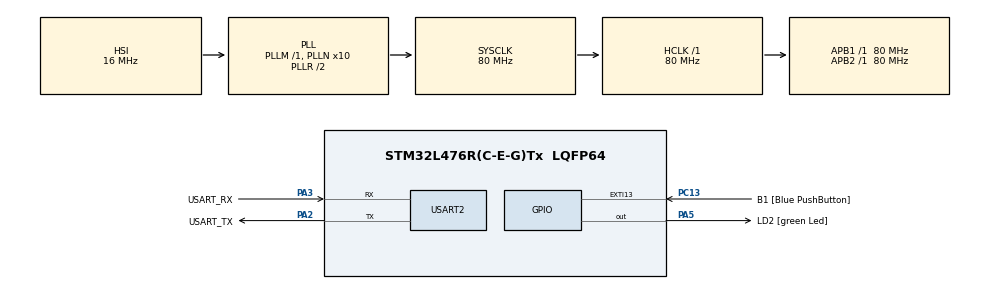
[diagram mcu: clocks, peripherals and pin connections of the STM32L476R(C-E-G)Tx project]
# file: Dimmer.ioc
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Mcu.Family=STM32L4
Mcu.Name=STM32L476R(C-E-G)Tx
Mcu.Package=LQFP64
NVIC.EXTI15_10_IRQn=true\:0\:0\:false\:false\:true\:true\:true
NVIC.PriorityGroup=NVIC_PRIORITYGROUP_4
PA13\ (JTMS-SWDIO).GPIO_Label=TMS
PA13\ (JTMS-SWDIO).Mode=Serial_Wire
PA13\ (JTMS-SWDIO).Signal=SYS_JTMS-SWDIO
PA14\ (JTCK-SWCLK).GPIO_Label=TCK
PA14\ (JTCK-SWCLK).Mode=Serial_Wire
PA14\ (JTCK-SWCLK).Signal=SYS_JTCK-SWCLK
PA2.GPIO_Label=USART_TX
PA2.GPIO_Mode=GPIO_MODE_AF_PP
PA2.GPIO_PuPd=GPIO_NOPULL
PA2.GPIO_Speed=GPIO_SPEED_FREQ_VERY_HIGH
PA2.Mode=Asynchronous
PA2.Signal=USART2_TX
PA3.GPIO_Label=USART_RX
PA3.GPIO_Mode=GPIO_MODE_AF_PP
PA3.GPIO_PuPd=GPIO_NOPULL
PA3.GPIO_Speed=GPIO_SPEED_FREQ_VERY_HIGH
PA3.Mode=Asynchronous
PA3.Signal=USART2_RX
PA5.GPIO_Label=LD2 [green Led]
PA5.GPIO_ModeDefaultOutputPP=GPIO_MODE_OUTPUT_PP
PA5.GPIO_PuPd=GPIO_NOPULL
PA5.GPIO_Speed=GPIO_SPEED_FREQ_LOW
PA5.Signal=GPIO_Output
PB3\ (JTDO-TRACESWO).GPIO_Label=SWO
PB3\ (JTDO-TRACESWO).Signal=SYS_JTDO-SWO
PC13.GPIO_Label=B1 [Blue PushButton]
PC13.GPIO_ModeDefaultEXTI=GPIO_MODE_IT_FALLING
PC13.GPIO_PuPd=GPIO_NOPULL
PC13.Signal=GPXTI13
PC14-OSC32_IN\ (PC14).Mode=LSE-External-Oscillator
PC14-OSC32_IN\ (PC14).Signal=RCC_OSC32_IN
PC15-OSC32_OUT\ (PC15).Mode=LSE-External-Oscillator
PC15-OSC32_OUT\ (PC15).Signal=RCC_OSC32_OUT
PH0-OSC_IN\ (PH0).Signal=RCC_OSC_IN
PH1-OSC_OUT\ (PH1).Signal=RCC_OSC_OUT
ProjectManager.HeapSize=0x200
ProjectManager.StackSize=0x400
ProjectManager.TargetToolchain=STM32CubeIDE
RCC.ADCFreq_Value=64000000
RCC.AHBFreq_Value=80000000
RCC.APB1Freq_Value=80000000
RCC.APB1TimFreq_Value=80000000
RCC.APB2Freq_Value=80000000
RCC.APB2TimFreq_Value=80000000
RCC.CortexFreq_Value=80000000
RCC.HCLKFreq_Value=80000000
RCC.HSE_VALUE=8000000
RCC.HSI_VALUE=16000000
RCC.MSI_VALUE=4000000
RCC.PLLN=10
RCC.PLLSourceVirtual=RCC_PLLSOURCE_HSI
RCC.PREFETCH_ENABLE=1
RCC.SYSCLKFreq_VALUE=80000000
RCC.SYSCLKSource=RCC_SYSCLKSOURCE_PLLCLK
RCC.USBFreq_Value=64000000
RCC.VCOOutputFreq_Value=160000000
USART2.VirtualMode-Asynchronous=VM_ASYNC
board=NUCLEO-L476RG

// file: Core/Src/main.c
/* USER CODE BEGIN Header */
/**
  ******************************************************************************
  * @file           : main.c
  * @brief          : Main program body
  ******************************************************************************
  * @attention
  *
  * <h2><center>&copy; Copyright (c) 2020 STMicroelectronics.
  * All rights reserved.</center></h2>
  *
  * This software component is licensed by ST under BSD 3-Clause license,
  * the "License"; You may not use this file except in compliance with the
  * License. You may obtain a copy of the License at:
  *                        opensource.org/licenses/BSD-3-Clause
  *
  ******************************************************************************
  */
/* USER CODE END Header */

#include "main.h"

UART_HandleTypeDef huart2;

void SystemClock_Config(void);
static void MX_GPIO_Init(void);
static void MX_USART2_UART_Init(void);

int main(void)
{

  /* MCU Configuration--------------------------------------------------------*/

  /* Reset of all peripherals, Initializes the Flash interface and the Systick. */
  HAL_Init();

  /* USER CODE BEGIN Init */
  estado_led=Apagado;
  tempo=0;
  tiemp=0;
  tick_time=0;
  Revisaboton=0;
  Tsw=4000;
  Toff=10000;
  flag=0;
  /* USER CODE END Init */

  /* Configure the system clock */
  SystemClock_Config();

  /* Initialize all configured peripherals */
  MX_GPIO_Init();
  MX_USART2_UART_Init();

  /* Infinite loop */
  /* USER CODE BEGIN WHILE */
  while (1)
	  {

	  // Dimmer(tick_time,Tsw,Toff,flag);
	  switch(estado_led)
	  {
	  case (Apagado):
			  if (flag==1){
				  if(tick_time>=tiemp+Toff)
				  {
					  estado_led=Encendido;
					  tiemp=tick_time;
					}
					else
					{
						estado_led=Atenuado;
						tiemp=tick_time;
					}
					flag=0;
				}
				else{
				HAL_GPIO_WritePin(LD2_GPIO_Port, LD2_Pin, GPIO_PIN_RESET);
				}
		break;
		case (Atenuado):
			if (flag==1){
				if(tick_time>=tiemp+Tsw)
				{
					estado_led=Apagado;
					tiemp=tick_time;
				}
				else
				{
					estado_led=Encendido;
					tiemp=tick_time;
				}
				flag=0;
			}
			else{
				if (tick_time>=(33+tempo)){
					HAL_GPIO_TogglePin(LD2_GPIO_Port, LD2_Pin);
					tempo=tick_time;
				}
			}
		break;
		case (Encendido):
				if (flag==1)
				{
					if(tick_time>=tiemp+Tsw)
					{
						estado_led=Atenuado;
						tiemp=tick_time;
					}
					else
						{
						estado_led=Apagado;
						tiemp=tick_time;
						}
					flag=0;
				}
				else
				{
					HAL_GPIO_WritePin(LD2_GPIO_Port, LD2_Pin, GPIO_PIN_SET);
				}
		break;
		}

	  /* USER CODE END WHILE */
	  }
}
void SystemClock_Config(void)
{
  RCC_OscInitTypeDef RCC_OscInitStruct = {0};
  RCC_ClkInitTypeDef RCC_ClkInitStruct = {0};
  RCC_PeriphCLKInitTypeDef PeriphClkInit = {0};

  /** Initializes the CPU, AHB and APB busses clocks
  */
  RCC_OscInitStruct.OscillatorType = RCC_OSCILLATORTYPE_HSI;
  RCC_OscInitStruct.HSIState = RCC_HSI_ON;
  RCC_OscInitStruct.HSICalibrationValue = RCC_HSICALIBRATION_DEFAULT;
  RCC_OscInitStruct.PLL.PLLState = RCC_PLL_ON;
  RCC_OscInitStruct.PLL.PLLSource = RCC_PLLSOURCE_HSI;
  RCC_OscInitStruct.PLL.PLLM = 1;
  RCC_OscInitStruct.PLL.PLLN = 10;
  RCC_OscInitStruct.PLL.PLLP = RCC_PLLP_DIV7;
  RCC_OscInitStruct.PLL.PLLQ = RCC_PLLQ_DIV2;
  RCC_OscInitStruct.PLL.PLLR = RCC_PLLR_DIV2;
  if (HAL_RCC_OscConfig(&RCC_OscInitStruct) != HAL_OK)
  {
    Error_Handler();
  }
  /** Initializes the CPU, AHB and APB busses clocks
  */
  RCC_ClkInitStruct.ClockType = RCC_CLOCKTYPE_HCLK|RCC_CLOCKTYPE_SYSCLK
                              |RCC_CLOCKTYPE_PCLK1|RCC_CLOCKTYPE_PCLK2;
  RCC_ClkInitStruct.SYSCLKSource = RCC_SYSCLKSOURCE_PLLCLK;
  RCC_ClkInitStruct.AHBCLKDivider = RCC_SYSCLK_DIV1;
  RCC_ClkInitStruct.APB1CLKDivider = RCC_HCLK_DIV1;
  RCC_ClkInitStruct.APB2CLKDivider = RCC_HCLK_DIV1;

  if (HAL_RCC_ClockConfig(&RCC_ClkInitStruct, FLASH_LATENCY_4) != HAL_OK)
  {
    Error_Handler();
  }
  PeriphClkInit.PeriphClockSelection = RCC_PERIPHCLK_USART2;
  PeriphClkInit.Usart2ClockSelection = RCC_USART2CLKSOURCE_PCLK1;
  if (HAL_RCCEx_PeriphCLKConfig(&PeriphClkInit) != HAL_OK)
  {
    Error_Handler();
  }
  /** Configure the main internal regulator output voltage
  */
  if (HAL_PWREx_ControlVoltageScaling(PWR_REGULATOR_VOLTAGE_SCALE1) != HAL_OK)
  {
    Error_Handler();
  }
}

static void MX_USART2_UART_Init(void)
{

  huart2.Instance = USART2;
  huart2.Init.BaudRate = 115200;
  huart2.Init.WordLength = UART_WORDLENGTH_8B;
  huart2.Init.StopBits = UART_STOPBITS_1;
  huart2.Init.Parity = UART_PARITY_NONE;
  huart2.Init.Mode = UART_MODE_TX_RX;
  huart2.Init.HwFlowCtl = UART_HWCONTROL_NONE;
  huart2.Init.OverSampling = UART_OVERSAMPLING_16;
  huart2.Init.OneBitSampling = UART_ONE_BIT_SAMPLE_DISABLE;
  huart2.AdvancedInit.AdvFeatureInit = UART_ADVFEATURE_NO_INIT;
  if (HAL_UART_Init(&huart2) != HAL_OK)
  {
    Error_Handler();
  }

}

static void MX_GPIO_Init(void)
{
  GPIO_InitTypeDef GPIO_InitStruct = {0};

  /* GPIO Ports Clock Enable */
  __HAL_RCC_GPIOC_CLK_ENABLE();
  __HAL_RCC_GPIOH_CLK_ENABLE();
  __HAL_RCC_GPIOA_CLK_ENABLE();
  __HAL_RCC_GPIOB_CLK_ENABLE();

  /*Configure GPIO pin Output Level */
  HAL_GPIO_WritePin(LD2_GPIO_Port, LD2_Pin, GPIO_PIN_RESET);

  /*Configure GPIO pin : B1_Pin */
  GPIO_InitStruct.Pin = B1_Pin;
  GPIO_InitStruct.Mode = GPIO_MODE_IT_FALLING;
  GPIO_InitStruct.Pull = GPIO_NOPULL;
  HAL_GPIO_Init(B1_GPIO_Port, &GPIO_InitStruct);

  /*Configure GPIO pin : LD2_Pin */
  GPIO_InitStruct.Pin = LD2_Pin;
  GPIO_InitStruct.Mode = GPIO_MODE_OUTPUT_PP;
  GPIO_InitStruct.Pull = GPIO_NOPULL;
  GPIO_InitStruct.Speed = GPIO_SPEED_FREQ_LOW;
  HAL_GPIO_Init(LD2_GPIO_Port, &GPIO_InitStruct);

  /* EXTI interrupt init*/
  HAL_NVIC_SetPriority(EXTI15_10_IRQn, 0, 0);
  HAL_NVIC_EnableIRQ(EXTI15_10_IRQn);

}

/* USER CODE BEGIN 4 */
//Función para detectar que se activaboton con antirrebote

uint8_t Boton1(void)
{
	static estBoton estado_actual=Esperando;
	static uint8_t contador=0;
	uint8_t F=0;

	switch(estado_actual)
	{
	case(Esperando):
			if(!(HAL_GPIO_ReadPin(B1_GPIO_Port, B1_Pin)))
			{
				estado_actual=Detectado;
				contador=0;
			}
	break;
	case(Detectado):
			if (!(HAL_GPIO_ReadPin(B1_GPIO_Port, B1_Pin)))
			{
				contador++;
				if(contador>=10)
				{
					estado_actual=Esperandosoltar;
					contador=0;
				}
			}
			else
			{
				estado_actual=Esperando;
				contador=0;
			}
	break;
	case(Esperandosoltar):
			if(HAL_GPIO_ReadPin(B1_GPIO_Port, B1_Pin))
			{
				estado_actual=Actualizar;
			}
	break;
	case(Actualizar):
			F=1;
			estado_actual=Esperando;
			//HAL_GPIO_TogglePin(LD2_GPIO_Port, LD2_Pin);
	break;
	}
	return F;
}
/*Función del estado del led
void Dimmer(uint64_t tick_time, uint16_t Tsw, uint16_t Toff, uint8_t *flag){
	static EstLed estado_led=Apagado;
	static uint64_t tempo=0;
	static uint64_t tiemp=0;
	switch(estado_led)
	{
	case (Apagado):
			if (flag==1){
				if(tick_time>=tiemp+Toff){
					estado_led=Encendido;
					tiemp=tick_time;
				}
				else
				{
					estado_led=Atenuado;
					tiemp=tick_time;
				}
				flag=0;
			}
			else
			HAL_GPIO_WritePin(LD2_GPIO_Port, LD2_Pin, GPIO_PIN_RESET);
	break;
	case (Atenuado):
		if (flag==1){
			if(tick_time>=tiemp+Tsw)
			{
				estado_led=Apagado;
				tiemp=tick_time;
			}
			else
			{
				estado_led=Encendido;
				tiemp=tick_time;
			}
			flag=0;
		}
		else{
			if (tick_time>=(33+tempo)){
				HAL_GPIO_TogglePin(LD2_GPIO_Port, LD2_Pin);
				tempo=tick_time;
			}
		}
	break;
	case (Encendido):
			if (flag==1)
			{
				if(tick_time>=tiemp+Tsw){
					estado_led=Atenuado;
					tiemp=tick_time;
				}
				else
					{
					estado_led=Apagado;
					tiemp=tick_time;
					}
				flag=0;
			}
			else
			{
				HAL_GPIO_WritePin(LD2_GPIO_Port, LD2_Pin, GPIO_PIN_SET);
			}
	break;
	}
}
*/

/* USER CODE END 4 */
void Error_Handler(void)
{
}

/************************ (C) COPYRIGHT STMicroelectronics *****END OF FILE****/
